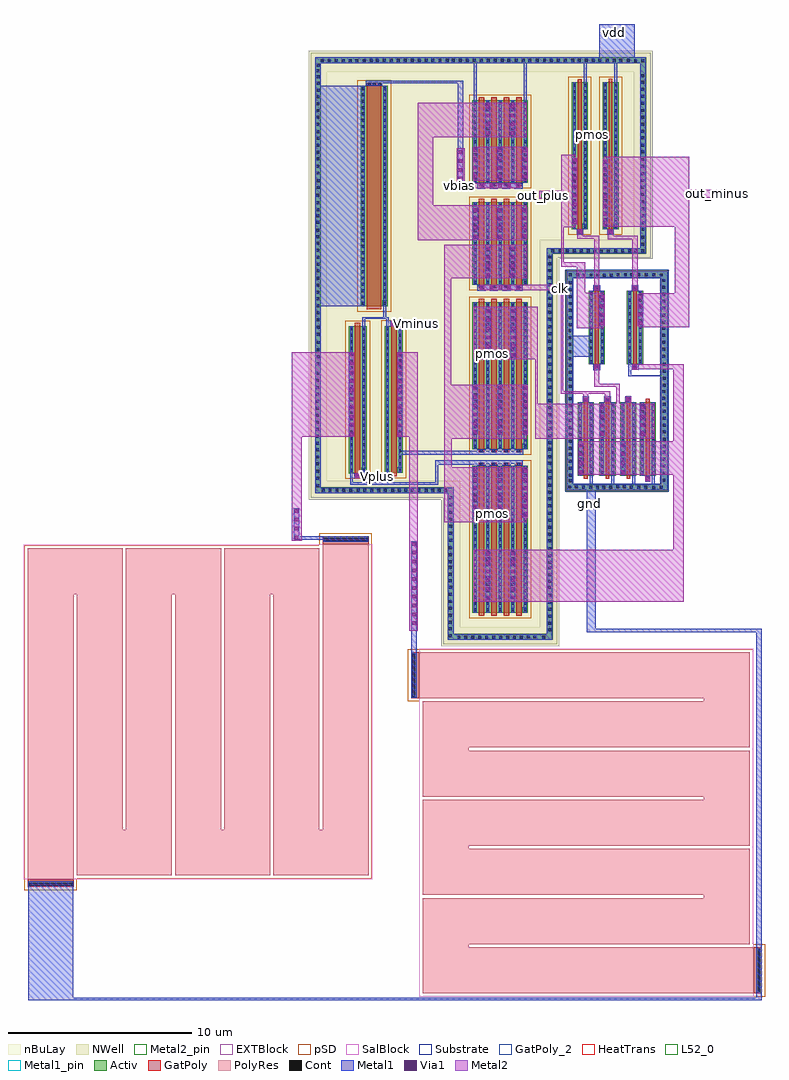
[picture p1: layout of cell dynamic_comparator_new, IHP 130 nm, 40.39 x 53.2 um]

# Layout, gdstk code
from math import pi, radians
import gdstk
lib = gdstk.Library(unit=1e-6, precision=1e-09)
def R(c, l, rs):  # rectangles x0, y0, x1, y1
    for r in rs: c.add(gdstk.rectangle(r[:2], r[2:], *l))
def A(c, l, x, y, w, h, nx, ny, dx, dy):  # array of equal rectangles
    R(c, l, [(x+i*dx, y+j*dy, x+i*dx+w, y+j*dy+h) for i in range(nx) for j in range(ny)])
def P(c, l, *ps):  # polygons
    for p in ps: c.add(gdstk.Polygon(p, *l))
Activ = (1, 0)
GatPoly = (5, 0)
GatPoly_2 = (5, 2)
Cont = (6, 0)
Metal1 = (8, 0)
Metal1_pin = (8, 2)
Metal2 = (10, 0)
Metal2_pin = (10, 2)
pSD = (14, 0)
Via1 = (19, 0)
SalBlock = (28, 0)
NWell = (31, 0)
nBuLay = (32, 0)
Substrate = (40, 0)
HeatTrans = (51, 0)
L52_0 = (52, 0)
EXTBlock = (111, 0)
PolyRes = (128, 0)

pmos_5_5 = lib.new_cell('pmos$5$5')

via_stack_1_14 = lib.new_cell('via_stack$1$14')

via_stack_62 = lib.new_cell('via_stack$62')

nmos_1_4 = lib.new_cell('nmos$1$4')

via_stack_3_10 = lib.new_cell('via_stack$3$10')

nmos_2_8 = lib.new_cell('nmos$2$8')

via_stack_1_1_8 = lib.new_cell('via_stack$1$1$8')

via_stack_2_2 = lib.new_cell('via_stack$2$2')

pmos_6_4 = lib.new_cell('pmos$6$4')

via_stack_3_1_8 = lib.new_cell('via_stack$3$1$8')

via_stack_4_8 = lib.new_cell('via_stack$4$8')

pmos_16 = lib.new_cell('pmos$16')
A(pmos_16, Activ, 0, 0, 0.3, 0.3, 5, 1, 0.68, 0)
R(pmos_16, Activ, [(0,0,3.02,4.5)])
A(pmos_16, GatPoly, 0.34, -0.18, 0.3, 4.86, 4, 1, 0.68, 0)
R(pmos_16, GatPoly, [(0.34,-0.18,0.64,4.68)])
A(pmos_16, Cont, 0.07, 0.07, 0.16, 0.16, 5, 13, 0.68, 0.35)
A(pmos_16, Metal1, 0.75, 0, 0.16, 4.5, 4, 1, 0.68, 0)
R(pmos_16, Metal1, [(0.07,0,0.23,4.5), (0.07,0,0.23,4.5), (0.75,0,0.91,4.5)])
R(pmos_16, pSD, [(-0.18,-0.3,3.2,4.8)])
R(pmos_16, NWell, [(-0.31,-0.31,3.33,4.81)])
R(pmos_16, Substrate, [(2.72,0,3.02,0.3)])
A(pmos_16, HeatTrans, 0.34, -0.18, 0.3, 4.86, 4, 1, 0.68, 0)
pmos_16.add(gdstk.Label('pmos', (0.49,2.25), layer=63, texttype=0))
pmos_16.add(gdstk.Label('pmos', (0.49,2.25), layer=51, texttype=0))
pmos_16.add(gdstk.Label('pmos', (1.17,2.25), layer=51, texttype=0))
pmos_16.add(gdstk.Label('pmos', (1.85,2.25), layer=51, texttype=0))
pmos_16.add(gdstk.Label('pmos', (2.53,2.25), layer=51, texttype=0))

pmos_7_5 = lib.new_cell('pmos$7$5')
A(pmos_7_5, Activ, 0, 0, 0.3, 0.3, 5, 1, 0.68, 0)
R(pmos_7_5, Activ, [(0,0,3.02,4.5)])
A(pmos_7_5, GatPoly, 0.34, -0.18, 0.3, 4.86, 4, 1, 0.68, 0)
R(pmos_7_5, GatPoly, [(0.34,-0.18,0.64,4.68)])
A(pmos_7_5, Cont, 0.07, 0.07, 0.16, 0.16, 5, 13, 0.68, 0.35)
A(pmos_7_5, Metal1, 0.75, 0, 0.16, 4.5, 4, 1, 0.68, 0)
R(pmos_7_5, Metal1, [(0.07,0,0.23,4.5), (0.07,0,0.23,4.5), (0.75,0,0.91,4.5)])
R(pmos_7_5, pSD, [(-0.18,-0.3,3.2,4.8)])
R(pmos_7_5, NWell, [(-0.31,-0.31,3.33,4.81)])
R(pmos_7_5, Substrate, [(2.72,0,3.02,0.3)])
A(pmos_7_5, HeatTrans, 0.34, -0.18, 0.3, 4.86, 4, 1, 0.68, 0)
pmos_7_5.add(gdstk.Label('pmos', (0.49,2.25), layer=63, texttype=0))
pmos_7_5.add(gdstk.Label('pmos', (0.49,2.25), layer=51, texttype=0))
pmos_7_5.add(gdstk.Label('pmos', (1.17,2.25), layer=51, texttype=0))
pmos_7_5.add(gdstk.Label('pmos', (1.85,2.25), layer=51, texttype=0))
pmos_7_5.add(gdstk.Label('pmos', (2.53,2.25), layer=51, texttype=0))

via_stack_6_8 = lib.new_cell('via_stack$6$8')
R(via_stack_6_8, Metal1, [(-0.145,-0.865,0.145,0.865)])
R(via_stack_6_8, Metal2, [(-0.145,-0.865,0.145,0.865)])
A(via_stack_6_8, Via1, -0.095, -0.815, 0.19, 0.19, 1, 4, 0, 0.48)

via_stack_5_2 = lib.new_cell('via_stack$5$2')
R(via_stack_5_2, Metal1, [(-1.105,-0.145,1.105,0.145)])
R(via_stack_5_2, Metal2, [(-1.105,-0.145,1.105,0.145)])
A(via_stack_5_2, Via1, -1.055, -0.095, 0.19, 0.19, 5, 1, 0.48, 0)

nmos_12 = lib.new_cell('nmos$12')
R(nmos_12, Activ, [(0,0,0.3,0.3), (0,0,0.88,4), (0.58,0,0.88,0.3)])
R(nmos_12, GatPoly, [(0.34,-0.18,0.54,4.18)])
R(nmos_12, GatPoly_2, [(0.34,-0.18,0.54,4.18)])
A(nmos_12, Cont, 0.07, 0.07, 0.16, 0.16, 1, 11, 0, 0.37)
A(nmos_12, Cont, 0.65, 0.07, 0.16, 0.16, 1, 11, 0, 0.37)
R(nmos_12, Metal1, [(0.07,0,0.23,4), (0.65,0,0.81,4)])
R(nmos_12, Metal1_pin, [(0.07,0,0.23,4), (0.65,0,0.81,4)])
R(nmos_12, HeatTrans, [(0.34,-0.18,0.54,4.18)])
nmos_12.add(gdstk.Label('nmos', (0.44,2), layer=63, texttype=0))
nmos_12.add(gdstk.Label('nmos', (0.44,2), layer=51, texttype=0))

via_stack_10_8 = lib.new_cell('via_stack$10$8')
R(via_stack_10_8, Metal1, [(-0.145,-0.145,0.145,0.145)])
R(via_stack_10_8, Metal2, [(-0.145,-0.145,0.145,0.145)])
R(via_stack_10_8, Via1, [(-0.095,-0.095,0.095,0.095)])

pmos_1_8 = lib.new_cell('pmos$1$8')
R(pmos_1_8, Activ, [(0,0,0.3,0.3), (0,0,0.88,8), (0.58,0,0.88,0.3)])
R(pmos_1_8, GatPoly, [(0.34,-0.18,0.54,8.18), (0.34,-0.18,0.54,8.18)])
A(pmos_1_8, Cont, 0.07, 0.07, 0.16, 0.16, 1, 23, 0, 0.35)
A(pmos_1_8, Cont, 0.65, 0.07, 0.16, 0.16, 1, 23, 0, 0.35)
R(pmos_1_8, Metal1, [(0.07,0,0.23,8), (0.07,0,0.23,8), (0.65,0,0.81,8), (0.65,0,0.81,8)])
R(pmos_1_8, pSD, [(-0.18,-0.3,1.06,8.3)])
R(pmos_1_8, NWell, [(-0.31,-0.31,1.19,8.31)])
R(pmos_1_8, Substrate, [(0.58,0,0.88,0.3)])
R(pmos_1_8, HeatTrans, [(0.34,-0.18,0.54,8.18)])
pmos_1_8.add(gdstk.Label('pmos', (0.44,4), layer=63, texttype=0))
pmos_1_8.add(gdstk.Label('pmos', (0.44,4), layer=51, texttype=0))

via_stack_11_8 = lib.new_cell('via_stack$11$8')
R(via_stack_11_8, Metal1, [(-0.145,-1.825,0.145,1.825)])
R(via_stack_11_8, Metal2, [(-0.145,-1.825,0.145,1.825)])
A(via_stack_11_8, Via1, -0.095, -1.775, 0.19, 0.19, 1, 8, 0, 0.48)

via_stack_7_8 = lib.new_cell('via_stack$7$8')
R(via_stack_7_8, Metal1, [(-0.145,-1.345,0.145,1.345)])
R(via_stack_7_8, Metal2, [(-0.145,-1.345,0.145,1.345)])
A(via_stack_7_8, Via1, -0.095, -1.295, 0.19, 0.19, 1, 6, 0, 0.48)

pmos_4_8 = lib.new_cell('pmos$4$8')
A(pmos_4_8, Activ, 0, 0, 0.3, 0.3, 5, 1, 0.68, 0)
R(pmos_4_8, Activ, [(0,0,3.02,8)])
A(pmos_4_8, GatPoly, 0.34, -0.18, 0.3, 8.36, 4, 1, 0.68, 0)
R(pmos_4_8, GatPoly, [(0.34,-0.18,0.64,8.18)])
A(pmos_4_8, Cont, 0.07, 0.07, 0.16, 0.16, 5, 23, 0.68, 0.35)
A(pmos_4_8, Metal1, 0.75, 0, 0.16, 8, 4, 1, 0.68, 0)
R(pmos_4_8, Metal1, [(0.07,0,0.23,8), (0.07,0,0.23,8), (0.75,0,0.91,8)])
R(pmos_4_8, pSD, [(-0.18,-0.3,3.2,8.3)])
R(pmos_4_8, NWell, [(-0.31,-0.31,3.33,8.31)])
R(pmos_4_8, Substrate, [(2.72,0,3.02,0.3)])
A(pmos_4_8, HeatTrans, 0.34, -0.18, 0.3, 8.36, 4, 1, 0.68, 0)
pmos_4_8.add(gdstk.Label('pmos', (0.49,4), layer=63, texttype=0))
pmos_4_8.add(gdstk.Label('pmos', (0.49,4), layer=51, texttype=0))
pmos_4_8.add(gdstk.Label('pmos', (1.17,4), layer=51, texttype=0))
pmos_4_8.add(gdstk.Label('pmos', (1.85,4), layer=51, texttype=0))
pmos_4_8.add(gdstk.Label('pmos', (2.53,4), layer=51, texttype=0))

pmos_9_2 = lib.new_cell('pmos$9$2')
R(pmos_9_2, Activ, [(0,0,0.3,0.3), (0,0,1.48,12), (1.18,0,1.48,0.3)])
R(pmos_9_2, GatPoly, [(0.34,-0.18,1.14,12.18), (0.34,-0.18,1.14,12.18)])
A(pmos_9_2, Cont, 0.07, 0.41, 0.16, 0.16, 1, 5, 0, 0.345)
A(pmos_9_2, Cont, 1.25, 0.41, 0.16, 0.16, 1, 5, 0, 0.345)
A(pmos_9_2, Cont, 0.07, 2.13, 0.16, 0.16, 1, 6, 0, 0.345)
A(pmos_9_2, Cont, 1.25, 2.13, 0.16, 0.16, 1, 6, 0, 0.345)
A(pmos_9_2, Cont, 0.07, 4.195, 0.16, 0.16, 1, 6, 0, 0.345)
A(pmos_9_2, Cont, 1.25, 4.195, 0.16, 0.16, 1, 6, 0, 0.345)
A(pmos_9_2, Cont, 0.07, 6.26, 0.16, 0.16, 1, 5, 0, 0.345)
A(pmos_9_2, Cont, 1.25, 6.26, 0.16, 0.16, 1, 5, 0, 0.345)
A(pmos_9_2, Cont, 0.07, 7.98, 0.16, 0.16, 1, 6, 0, 0.345)
A(pmos_9_2, Cont, 1.25, 7.98, 0.16, 0.16, 1, 6, 0, 0.345)
A(pmos_9_2, Cont, 0.07, 10.045, 0.16, 0.16, 1, 6, 0, 0.345)
A(pmos_9_2, Cont, 1.25, 10.045, 0.16, 0.16, 1, 6, 0, 0.345)
R(pmos_9_2, Cont, [(0.07,0.07,0.23,0.23), (1.25,0.07,1.41,0.23)])
R(pmos_9_2, Metal1, [(0.07,0,0.23,12), (0.07,0,0.23,12), (1.25,0,1.41,12), (1.25,0,1.41,12)])
R(pmos_9_2, pSD, [(-0.18,-0.3,1.66,12.3)])
R(pmos_9_2, NWell, [(-0.31,-0.31,1.79,12.31)])
R(pmos_9_2, Substrate, [(1.18,0,1.48,0.3)])
R(pmos_9_2, HeatTrans, [(0.34,-0.18,1.14,12.18)])
pmos_9_2.add(gdstk.Label('pmos', (0.74,6), layer=63, texttype=0))
pmos_9_2.add(gdstk.Label('pmos', (0.74,6), layer=51, texttype=0))

pmos_11_2 = lib.new_cell('pmos$11$2')
R(pmos_11_2, Activ, [(0,0,0.3,0.3), (0,0,0.98,8), (0.68,0,0.98,0.3)])
R(pmos_11_2, GatPoly, [(0.34,-0.18,0.64,8.18), (0.34,-0.18,0.64,8.18)])
A(pmos_11_2, Cont, 0.07, 0.07, 0.16, 0.16, 1, 23, 0, 0.35)
A(pmos_11_2, Cont, 0.75, 0.07, 0.16, 0.16, 1, 23, 0, 0.35)
R(pmos_11_2, Metal1, [(0.07,0,0.23,8), (0.07,0,0.23,8), (0.75,0,0.91,8), (0.75,0,0.91,8)])
R(pmos_11_2, pSD, [(-0.18,-0.3,1.16,8.3)])
R(pmos_11_2, NWell, [(-0.31,-0.31,1.29,8.31)])
R(pmos_11_2, Substrate, [(0.68,0,0.98,0.3)])
R(pmos_11_2, HeatTrans, [(0.34,-0.18,0.64,8.18)])
pmos_11_2.add(gdstk.Label('pmos', (0.49,4), layer=63, texttype=0))
pmos_11_2.add(gdstk.Label('pmos', (0.49,4), layer=51, texttype=0))

via_stack_8_8 = lib.new_cell('via_stack$8$8')
R(via_stack_8_8, Metal1, [(-0.145,-2.305,0.145,2.305)])
R(via_stack_8_8, Metal2, [(-0.145,-2.305,0.145,2.305)])
A(via_stack_8_8, Via1, -0.095, -2.255, 0.19, 0.19, 1, 10, 0, 0.48)

rppd_2 = lib.new_cell('rppd$2')
R(rppd_2, GatPoly, [(0,-0.43,2.5,-0.2), (0,-0.2,2.5,0), (16.08,18.245,18.58,18.445), (16.08,18.445,18.58,18.675)])
R(rppd_2, Cont, [(0.07,-0.36,2.43,-0.2), (16.15,18.445,18.51,18.605)])
R(rppd_2, Metal1, [(0.02,-0.43,2.48,-0.13), (16.1,18.375,18.56,18.675)])
R(rppd_2, Metal1_pin, [(0.02,-0.43,2.48,-0.13), (16.1,18.375,18.56,18.675)])
R(rppd_2, pSD, [(-0.18,-0.61,2.68,0.02), (-0.18,0.02,18.76,18.2), (15.9,18.2,18.76,18.245), (15.9,18.245,18.76,18.855)])
R(rppd_2, SalBlock, [(-0.2,0,18.78,18.22), (15.88,18.22,18.78,18.245)])
A(rppd_2, L52_0, 2.68, 0.2, 5.18, 2.5, 3, 1, 5.36, 0)
A(rppd_2, L52_0, 2.68, 2.7, 2.5, 12.82, 5, 1, 2.68, 0)
A(rppd_2, L52_0, 0, 15.52, 5.18, 2.5, 3, 1, 5.36, 0)
R(rppd_2, L52_0, [(0,0,2.5,15.52), (16.08,2.7,18.58,18.245)])
R(rppd_2, EXTBlock, [(-0.18,-0.61,2.68,0), (-0.2,0,18.78,18.22), (15.88,18.22,18.78,18.245), (15.9,18.245,18.76,18.855)])
A(rppd_2, PolyRes, 2.68, 0.2, 5.18, 2.5, 3, 1, 5.36, 0)
A(rppd_2, PolyRes, 2.68, 2.7, 2.5, 12.82, 5, 1, 2.68, 0)
A(rppd_2, PolyRes, 0, 15.52, 5.18, 2.5, 3, 1, 5.36, 0)
R(rppd_2, PolyRes, [(0,0,2.5,15.52), (16.08,2.7,18.58,18.245)])
rppd_2.add(gdstk.Label('rppd r=11700.001', (1.25,6.41), layer=63, texttype=0))
rppd_2.add(gdstk.Label('rppd', (1.25,7.76), layer=52, texttype=0))
rppd_2.add(gdstk.Label('rppd', (2.59,16.77), layer=52, texttype=0))
rppd_2.add(gdstk.Label('rppd', (3.93,9.11), layer=52, texttype=0))
rppd_2.add(gdstk.Label('rppd', (5.27,1.45), layer=52, texttype=0))
rppd_2.add(gdstk.Label('rppd', (6.61,9.11), layer=52, texttype=0))
rppd_2.add(gdstk.Label('rppd', (7.95,16.77), layer=52, texttype=0))
rppd_2.add(gdstk.Label('rppd', (9.29,9.11), layer=52, texttype=0))
rppd_2.add(gdstk.Label('rppd', (10.63,1.45), layer=52, texttype=0))
rppd_2.add(gdstk.Label('rppd', (11.97,9.11), layer=52, texttype=0))
rppd_2.add(gdstk.Label('rppd', (13.31,16.77), layer=52, texttype=0))
rppd_2.add(gdstk.Label('rppd', (14.65,9.11), layer=52, texttype=0))
rppd_2.add(gdstk.Label('rppd', (15.99,1.45), layer=52, texttype=0))
rppd_2.add(gdstk.Label('rppd', (17.33,10.472), layer=52, texttype=0))

dynamic_comparator_new = lib.new_cell('dynamic_comparator_new')
P(dynamic_comparator_new, Activ, [(29.29,15.765),(29.29,23.755),(22.05,23.755),(22.05,47.175),(22.37,47.175),(22.37,24.065),(29.61,24.065),(29.61,16.085),(34.665,16.085),(34.665,37.105),(39.765,37.105),(39.765,47.175),(22.05,47.175),(22.05,47.51),(40.1,47.51),(40.1,36.815),(35,36.815),(35,15.765)],
  [(35.78,23.91),(35.78,35.495),(36.105,35.495),(36.105,24.225),(40.9,24.225),(40.9,35.495),(35.78,35.495),(35.78,35.855),(41.265,35.855),(41.265,23.91)])
A(dynamic_comparator_new, Cont, 30.565, 15.83, 0.16, 0.16, 3, 1, 0.375, 0)
A(dynamic_comparator_new, Cont, 34.765, 22.995, 0.16, 0.16, 1, 4, 0, 0.37)
A(dynamic_comparator_new, Cont, 26.91, 23.83, 0.16, 0.16, 3, 1, 0.36, 0)
A(dynamic_comparator_new, Cont, 23.165, 23.835, 0.16, 0.16, 3, 1, 0.375, 0)
A(dynamic_comparator_new, Cont, 40.99, 25.155, 0.16, 0.16, 1, 3, 0, 0.375)
A(dynamic_comparator_new, Cont, 40.995, 27.01, 0.16, 0.16, 1, 3, 0, 0.375)
A(dynamic_comparator_new, Cont, 22.105, 27.93, 0.16, 0.16, 1, 3, 0, 0.375)
A(dynamic_comparator_new, Cont, 34.76, 27.95, 0.16, 0.16, 1, 3, 0, 0.375)
A(dynamic_comparator_new, Cont, 35.865, 31.78, 0.16, 0.16, 1, 3, 0, 0.375)
A(dynamic_comparator_new, Cont, 40.98, 31.91, 0.16, 0.16, 1, 3, 0, 0.375)
A(dynamic_comparator_new, Cont, 35.87, 33.635, 0.16, 0.16, 1, 3, 0, 0.375)
A(dynamic_comparator_new, Cont, 40.985, 33.765, 0.16, 0.16, 1, 3, 0, 0.375)
A(dynamic_comparator_new, Cont, 22.13, 35.785, 0.16, 0.16, 1, 3, 0, 0.375)
A(dynamic_comparator_new, Cont, 35.72, 36.885, 0.16, 0.16, 3, 1, 0.375, 0)
A(dynamic_comparator_new, Cont, 39.84, 39.975, 0.16, 0.16, 1, 4, 0, 0.37)
A(dynamic_comparator_new, Cont, 22.13, 43.78, 0.16, 0.16, 1, 3, 0, 0.375)
A(dynamic_comparator_new, Cont, 39.835, 44.93, 0.16, 0.16, 1, 3, 0, 0.375)
A(dynamic_comparator_new, Cont, 22.14, 45.63, 0.16, 0.16, 1, 3, 0, 0.375)
A(dynamic_comparator_new, Cont, 25.745, 47.26, 0.16, 0.16, 3, 1, 0.375, 0)
A(dynamic_comparator_new, Cont, 34.855, 47.26, 0.16, 0.16, 3, 1, 0.375, 0)
A(dynamic_comparator_new, Cont, 29.89, 47.27, 0.16, 0.16, 3, 1, 0.375, 0)
R(dynamic_comparator_new, Cont, [(29.815,15.83,29.975,15.99), (30.185,15.83,30.345,15.99), (31.715,15.83,31.875,15.99), (32.085,15.83,32.245,15.99), (32.465,15.83,32.625,15.99), (32.84,15.83,33,15.99), (33.2,15.83,33.36,15.99), (34.435,15.83,34.595,15.99), (33.595,15.835,33.755,15.995), (33.955,15.835,34.115,15.995), (29.345,15.91,29.505,16.07), (34.755,16.24,34.915,16.4), (29.35,16.29,29.51,16.45), (34.75,16.595,34.91,16.755), (29.345,16.645,29.505,16.805), (34.75,16.97,34.91,17.13), (29.345,17.02,29.505,17.18), (34.75,17.35,34.91,17.51), (29.345,17.4,29.505,17.56), (34.75,17.72,34.91,17.88), (29.345,17.77,29.505,17.93), (34.75,18.12,34.91,18.28), (29.345,18.17,29.505,18.33), (29.355,18.535,29.515,18.695), (34.73,18.54,34.89,18.7), (34.755,18.865,34.915,19.025), (29.335,18.905,29.495,19.065), (34.765,19.225,34.925,19.385), (29.345,19.265,29.505,19.425), (34.765,19.6,34.925,19.76), (29.345,19.64,29.505,19.8), (34.755,19.905,34.915,20.065), (29.345,19.935,29.505,20.095), (34.765,20.265,34.925,20.425), (29.35,20.315,29.51,20.475), (34.765,20.64,34.925,20.8), (29.35,20.69,29.51,20.85), (34.77,21.075,34.93,21.235), (29.355,21.115,29.515,21.275), (34.77,21.435,34.93,21.595), (29.36,21.49,29.52,21.65), (34.77,21.805,34.93,21.965), (29.36,21.86,29.52,22.02), (34.77,22.205,34.93,22.365), (29.36,22.26,29.52,22.42), (34.77,22.58,34.93,22.74), (29.36,22.635,29.52,22.795), (29.355,23.05,29.515,23.21), (29.355,23.42,29.515,23.58), (28.74,23.825,28.9,23.985), (29.105,23.825,29.265,23.985), (22.415,23.835,22.575,23.995), (22.785,23.835,22.945,23.995), (24.315,23.835,24.475,23.995), (24.685,23.835,24.845,23.995), (25.065,23.835,25.225,23.995), (25.44,23.835,25.6,23.995), (25.8,23.835,25.96,23.995), (28.025,23.835,28.185,23.995), (28.385,23.835,28.545,23.995), (26.195,23.84,26.355,24), (26.555,23.84,26.715,24), (40.43,23.98,40.59,24.14), (36.6,23.985,36.76,24.145), (37,23.985,37.16,24.145), (40.84,23.985,41,24.145), (37.715,23.99,37.875,24.15), (38.095,23.99,38.255,24.15), (39.21,23.99,39.37,24.15), (39.61,23.99,39.77,24.15), (40.005,23.99,40.165,24.15), (37.365,23.995,37.525,24.155), (35.86,24.01,36.02,24.17), (36.215,24.01,36.375,24.17), (38.47,24.015,38.63,24.175), (38.825,24.015,38.985,24.175), (22.11,24.085,22.27,24.245), (35.875,24.35,36.035,24.51), (40.99,24.385,41.15,24.545), (22.11,24.485,22.27,24.645), (34.765,24.505,34.925,24.665), (40.1,24.535,40.26,24.695), (35.875,24.655,36.035,24.815), (24.305,24.685,24.465,24.845), (40.99,24.755,41.15,24.915), (22.11,24.86,22.27,25.02), (34.765,24.88,34.925,25.04), (35.875,25.035,36.035,25.195), (31.035,25.245,31.195,25.405), (31.715,25.245,31.875,25.405), (32.4,25.245,32.56,25.405), (33.08,25.245,33.24,25.405), (22.105,25.275,22.265,25.435), (34.76,25.295,34.92,25.455), (35.875,25.405,36.035,25.565), (22.105,25.645,22.265,25.805), (34.76,25.665,34.92,25.825), (35.875,25.805,36.035,25.965), (31.035,25.995,31.195,26.155), (31.715,25.995,31.875,26.155), (32.4,25.995,32.56,26.155), (33.08,25.995,33.24,26.155), (22.105,26.045,22.265,26.205), (34.76,26.065,34.92,26.225), (35.875,26.125,36.035,26.285), (40.995,26.24,41.155,26.4), (22.105,26.405,22.265,26.565), (34.76,26.425,34.92,26.585), (35.875,26.5,36.035,26.66), (40.995,26.61,41.155,26.77), (22.105,26.78,22.265,26.94), (34.76,26.8,34.92,26.96), (35.875,26.88,36.035,27.04), (22.105,27.16,22.265,27.32), (34.76,27.18,34.92,27.34), (35.875,27.25,36.035,27.41), (22.105,27.53,22.265,27.69), (34.76,27.55,34.92,27.71), (35.875,27.65,36.035,27.81), (35.875,28.025,36.035,28.185), (40.995,28.14,41.155,28.3), (35.87,28.44,36.03,28.6), (40.995,28.51,41.155,28.67), (36.725,28.715,36.885,28.875), (37.91,28.715,38.07,28.875), (39.04,28.715,39.2,28.875), (35.87,28.81,36.03,28.97), (40.985,28.845,41.145,29.005), (22.105,29.06,22.265,29.22), (34.76,29.08,34.92,29.24), (35.87,29.16,36.03,29.32), (40.985,29.215,41.145,29.375), (22.105,29.43,22.265,29.59), (34.76,29.45,34.92,29.61), (35.87,29.505,36.03,29.665), (40.995,29.56,41.155,29.72), (40.995,29.56,41.155,29.72), (22.105,29.83,22.265,29.99), (34.76,29.85,34.92,30.01), (35.87,29.875,36.03,30.035), (40.995,29.93,41.155,30.09), (40.995,29.93,41.155,30.09), (22.13,30.21,22.29,30.37), (35.87,30.275,36.03,30.435), (34.755,30.28,34.915,30.44), (40.995,30.33,41.155,30.49), (37.325,30.61,37.485,30.77), (39.415,30.62,39.575,30.78), (35.87,30.65,36.03,30.81), (34.75,30.69,34.91,30.85), (40.995,30.705,41.155,30.865), (22.13,30.72,22.29,30.88), (35.865,31.01,36.025,31.17), (22.135,31.105,22.295,31.265), (34.76,31.11,34.92,31.27), (40.98,31.14,41.14,31.3), (35.865,31.38,36.025,31.54), (22.13,31.5,22.29,31.66), (40.98,31.51,41.14,31.67), (34.75,31.545,34.91,31.705), (22.135,31.885,22.295,32.045), (34.76,31.965,34.92,32.125), (22.135,32.34,22.295,32.5), (34.76,32.365,34.92,32.525), (22.135,32.715,22.295,32.875), (34.76,32.74,34.92,32.9), (35.87,32.865,36.03,33.025), (26.26,32.87,26.42,33.03), (40.985,32.995,41.145,33.155), (22.13,33.13,22.29,33.29), (34.755,33.155,34.915,33.315), (35.87,33.235,36.03,33.395), (40.985,33.365,41.145,33.525), (22.13,33.5,22.29,33.66), (34.755,33.525,34.915,33.685), (22.13,33.9,22.29,34.06), (34.755,33.925,34.915,34.085), (22.13,34.26,22.29,34.42), (34.755,34.285,34.915,34.445), (22.13,34.635,22.29,34.795), (34.755,34.66,34.915,34.82), (35.87,34.765,36.03,34.925), (37.325,34.785,37.485,34.945), (39.41,34.795,39.57,34.955), (40.985,34.895,41.145,35.055), (31.035,34.945,31.195,35.105), (31.715,34.945,31.875,35.105), (32.4,34.945,32.56,35.105), (33.08,34.945,33.24,35.105), (22.13,35.015,22.29,35.175), (34.755,35.04,34.915,35.2), (35.87,35.135,36.03,35.295), (40.985,35.265,41.145,35.425), (22.13,35.385,22.29,35.545), (34.755,35.41,34.915,35.57), (37.725,35.56,37.885,35.72), (38.105,35.56,38.265,35.72), (36.63,35.565,36.79,35.725), (37.01,35.565,37.17,35.725), (37.375,35.565,37.535,35.725), (40.845,35.565,41.005,35.725), (35.87,35.57,36.03,35.73), (36.28,35.57,36.44,35.73), (39.24,35.57,39.4,35.73), (39.62,35.57,39.78,35.73), (40.01,35.57,40.17,35.73), (38.48,35.575,38.64,35.735), (38.89,35.575,39.05,35.735), (40.42,35.575,40.58,35.735), (34.755,35.81,34.915,35.97), (34.755,36.185,34.915,36.345), (34.765,36.545,34.925,36.705), (37.205,36.87,37.365,37.03), (37.57,36.87,37.73,37.03), (37.96,36.87,38.12,37.03), (38.36,36.875,38.52,37.035), (38.725,36.875,38.885,37.035), (39.115,36.875,39.275,37.035), (34.935,36.885,35.095,37.045), (35.34,36.885,35.5,37.045), (36.87,36.885,37.03,37.045), (39.44,36.885,39.6,37.045), (39.83,36.885,39.99,37.045), (22.13,36.915,22.29,37.075), (39.84,37.245,40,37.405), (22.13,37.285,22.29,37.445), (39.84,37.62,40,37.78), (22.115,37.64,22.275,37.8), (36.4,37.98,36.56,38.14), (38.075,37.985,38.235,38.145), (22.115,38.015,22.275,38.175), (39.845,38.055,40.005,38.215), (39.845,38.415,40.005,38.575), (22.11,38.43,22.27,38.59), (39.845,38.785,40.005,38.945), (22.11,38.8,22.27,38.96), (22.13,39.13,22.29,39.29), (39.845,39.185,40.005,39.345), (22.13,39.505,22.29,39.665), (39.845,39.56,40.005,39.72), (22.125,39.92,22.285,40.08), (22.135,40.335,22.295,40.495), (31.03,40.495,31.19,40.655), (31.71,40.495,31.87,40.655), (32.395,40.495,32.555,40.655), (33.075,40.495,33.235,40.655), (22.135,40.71,22.295,40.87), (22.13,41.125,22.29,41.285), (39.84,41.485,40,41.645), (22.13,41.495,22.29,41.655), (39.84,41.86,40,42.02), (22.13,41.895,22.29,42.055), (22.13,42.255,22.29,42.415), (39.835,42.275,39.995,42.435), (22.13,42.63,22.29,42.79), (39.835,42.645,39.995,42.805), (22.13,43.01,22.29,43.17), (39.835,43.045,39.995,43.205), (22.13,43.38,22.29,43.54), (39.835,43.405,39.995,43.565), (39.835,43.78,39.995,43.94), (39.835,44.16,39.995,44.32), (39.835,44.53,39.995,44.69), (22.13,44.91,22.29,45.07), (22.13,45.28,22.29,45.44), (24.935,45.965,25.095,46.125), (25.2,45.965,25.36,46.125), (25.485,45.965,25.645,46.125), (39.835,46.06,39.995,46.22), (39.835,46.43,39.995,46.59), (22.13,46.7,22.29,46.86), (22.14,46.99,22.3,47.15), (39.435,47.245,39.595,47.405), (39.825,47.245,39.985,47.405), (22.355,47.255,22.515,47.415), (22.755,47.255,22.915,47.415), (23.125,47.255,23.285,47.415), (23.505,47.255,23.665,47.415), (23.505,47.255,23.665,47.415), (23.88,47.255,24.04,47.415), (23.88,47.255,24.04,47.415), (24.24,47.255,24.4,47.415), (24.24,47.255,24.4,47.415), (24.64,47.255,24.8,47.415), (25.025,47.26,25.185,47.42), (25.365,47.26,25.525,47.42), (26.895,47.26,27.055,47.42), (27.265,47.26,27.425,47.42), (27.645,47.26,27.805,47.42), (28.02,47.26,28.18,47.42), (28.38,47.26,28.54,47.42), (28.78,47.26,28.94,47.42), (34.475,47.26,34.635,47.42), (36.005,47.26,36.165,47.42), (36.375,47.26,36.535,47.42), (36.755,47.26,36.915,47.42), (37.13,47.26,37.29,47.42), (37.49,47.26,37.65,47.42), (37.89,47.26,38.05,47.42), (29.165,47.265,29.325,47.425), (38.275,47.265,38.435,47.425), (38.635,47.265,38.795,47.425), (39.035,47.265,39.195,47.425), (29.51,47.27,29.67,47.43), (31.04,47.27,31.2,47.43), (31.41,47.27,31.57,47.43), (31.79,47.27,31.95,47.43), (32.165,47.27,32.325,47.43), (32.525,47.27,32.685,47.43), (32.925,47.27,33.085,47.43), (33.31,47.275,33.47,47.435), (33.67,47.275,33.83,47.435), (34.07,47.275,34.23,47.435)])
R(dynamic_comparator_new, Metal1, [(46.095,-3.75,46.395,-3.48), (27.29,15.06,27.58,16.525), (21.19,21.205,22.485,21.395), (37.015,24.23,37.175,24.71), (38.2,24.23,38.36,24.71), (39.335,24.23,39.495,24.71), (40.395,24.23,40.555,24.71), (40.055,24.375,40.315,24.71), (24.17,24.555,24.58,24.85), (30.885,25.24,31.34,25.56), (31.565,25.24,32.02,25.56), (32.25,25.24,32.705,25.56), (32.925,25.24,33.38,25.56), (31.34,25.34,31.565,25.56), (32.02,25.34,32.25,25.56), (32.705,25.355,32.925,25.56), (26.6,25.84,30.885,26.075), (30.885,25.84,31.34,26.16), (30.885,25.84,31.34,26.16), (31.34,25.84,31.565,26.065), (31.565,25.84,32.02,26.16), (32.02,25.84,32.25,26.06), (32.25,25.84,32.705,26.16), (32.705,25.84,32.93,26.06), (32.93,25.84,33.385,26.16), (36.63,28.71,36.97,29.045), (37.82,28.71,38.16,29.045), (38.95,28.71,39.29,29.045), (37.225,30.46,37.59,30.775), (39.315,30.47,39.68,30.785), (36.105,31.18,37.035,32.335), (26.125,32.865,26.555,33.16), (22.36,33.955,24.6,45.95), (37.225,34.775,37.59,35.085), (39.31,34.785,39.675,35.09), (30.885,34.79,31.34,35.11), (31.565,34.79,32.02,35.11), (32.25,34.79,32.705,35.11), (32.925,34.79,33.38,35.11), (36.3,37.83,36.665,38.145), (37.975,37.835,38.34,38.15), (30.88,40.34,31.335,40.66), (31.56,40.34,32.015,40.66), (32.245,40.34,32.7,40.66), (32.92,40.34,33.375,40.66), (30.695,45.16,30.855,47.195), (33.415,45.16,33.575,47.195), (24.82,45.955,25.72,46.235), (37.54,47.505,39.48,49.325)])
P(dynamic_comparator_new, Metal1, [(29.295,15.77),(29.295,23.76),(22.055,23.76),(22.055,47.195),(38.53,47.195),(38.53,46.15),(38.37,46.15),(38.37,47.195),(36.85,47.195),(36.85,46.145),(36.69,46.145),(36.69,47.195),(22.36,47.195),(22.36,24.06),(29.6,24.06),(29.6,16.075),(34.68,16.075),(34.68,37.1),(39.78,37.1),(39.78,47.195),(22.055,47.195),(22.055,47.505),(40.085,47.505),(40.085,36.82),(34.985,36.82),(34.985,15.77)],
  [(46.095,-1.02),(46.095,16.165),(36.845,16.165),(36.845,23.905),(37.345,23.905),(37.345,16.37),(46.395,16.37),(46.395,-1.02)],
  [(39.12,30.12),(39.12,30.785),(39.28,30.785),(39.28,30.18),(40.89,30.18),(40.89,30.12)],
  [(35.77,23.905),(35.77,35.49),(36.105,35.49),(36.105,24.23),(40.89,24.23),(40.89,35.49),(35.77,35.49),(35.77,35.86),(41.265,35.86),(41.265,23.905)],
  [(29.84,42.485),(29.84,46.085),(25.72,46.085),(25.72,46.235),(30.13,46.235),(30.13,42.485)],
  [(24.635,32.85),(24.635,33.355),(25.78,33.355),(25.78,33.955),(25.94,33.955),(25.94,33.355),(26.08,33.355),(26.08,32.865),(25.92,32.865),(25.92,33.25),(24.795,33.25),(24.795,32.85)],
  [(23.955,24.205),(23.955,24.85),(24.115,24.85),(24.115,24.345),(28.6,24.345),(28.6,25.56),(30.885,25.56),(30.885,25.315),(28.76,25.315),(28.76,24.205)],
  [(6.405,-3.87),(6.405,2.29),(8.865,2.29),(8.865,-3.75),(46.395,-3.75),(46.395,-3.87)])
R(dynamic_comparator_new, Metal1_pin, [(36.89,23.12,37.33,23.3), (38.065,48.675,38.815,49.03)])
R(dynamic_comparator_new, Metal2, [(29.085,22.16,33.58,25.155), (24.52,24.555,25.515,24.79), (40.035,24.7,40.33,24.745), (36.435,24.745,41.565,26.57), (29.085,25.155,29.51,26.71), (29.085,26.71,33.58,29.67), (34.055,26.715,40.555,28.63), (34.055,28.63,34.175,31.04), (38.46,28.63,38.665,29.55), (38.98,28.63,39.27,28.72), (36.655,29.005,36.945,29.17), (37.85,29.005,38.14,29.17), (29.085,29.67,29.47,35.47), (39.64,30.495,41.565,30.78), (30.7,31.04,34.175,33.905), (26.485,32.91,27.71,33.155), (33.25,34.815,35.58,35.105), (29.085,35.47,33.61,37.29), (34.26,39.8,35.47,40.23), (42.45,39.855,44.18,40.285), (29.775,40.365,31.035,40.655), (29.775,40.655,30.2,42.55), (30.695,40.77,33.575,42.63)])
P(dynamic_comparator_new, Metal2, [(27.195,16.245),(27.195,26.825),(26.815,26.825),(26.815,31.435),(27.65,31.435),(27.65,16.245)],
  [(20.775,21.165),(20.775,31.445),(23.9,31.445),(23.9,26.835),(21.335,26.835),(21.335,21.165)],
  [(27.65,37.535),(27.65,45.03),(33.575,45.03),(33.575,43.155),(28.505,43.155),(28.505,39.45),(33.58,39.45),(33.58,37.535)],
  [(30.7,17.835),(30.7,20.66),(41.565,20.66),(41.565,30.78),(42.145,30.78),(42.145,17.835)],
  [(35.44,29.17),(35.44,34.815),(35.58,34.815),(35.58,29.315),(38.14,29.315),(38.14,29.17)],
  [(37.26,29.55),(37.26,30.48),(37.55,30.48),(37.55,29.725),(38.665,29.725),(38.665,29.55)],
  [(37.26,35.07),(37.26,37.615),(36.335,37.615),(36.335,37.85),(36.625,37.85),(36.625,37.78),(37.55,37.78),(37.55,35.07)],
  [(39.7,32.785),(39.7,34.66),(41.665,34.66),(41.665,38.285),(37.79,38.285),(37.79,42.095),(42.45,42.095),(42.45,32.785)],
  [(39.345,35.08),(39.345,37.595),(38.015,37.595),(38.015,37.855),(38.305,37.855),(38.305,37.775),(39.635,37.775),(39.635,35.08)],
  [(36.325,32.755),(36.325,36.09),(35.47,36.09),(35.47,42.19),(36.27,42.19),(36.27,38.255),(35.615,38.255),(35.615,36.345),(36.78,36.345),(36.78,34.665),(37.775,34.665),(37.775,32.755)])
R(dynamic_comparator_new, Metal2_pin, [(25.4,24.58,25.495,24.76), (27.525,32.925,27.7,33.15), (35.385,34.835,35.55,35.07), (34.375,39.81,34.59,40.18), (43.91,39.885,44.15,40.24), (29.8,40.395,29.965,40.63)])
P(dynamic_comparator_new, pSD, [(35.745,23.88),(35.745,35.465),(36.135,35.465),(36.135,24.255),(40.88,24.255),(40.88,35.465),(35.745,35.465),(35.745,35.885),(41.29,35.885),(41.29,23.88)])
P(dynamic_comparator_new, NWell, [(29.05,15.525),(29.05,23.515),(21.81,23.515),(21.81,47.75),(40.34,47.75),(40.34,36.575),(35.24,36.575),(35.24,15.525)])
R(dynamic_comparator_new, nBuLay, [(39.415,36.53,40.45,46.73), (21.7,46.73,40.45,47.855)])
P(dynamic_comparator_new, nBuLay, [(28.94,15.42),(28.94,23.405),(21.7,23.405),(21.7,46.73),(22.7,46.73),(22.7,24.42),(29.97,24.42),(29.97,16.44),(35.35,16.44),(35.35,15.42)],
  [(34.305,15.42),(34.305,37.555),(39.415,37.555),(39.415,36.535),(35.35,36.535),(35.35,15.42)])
R(dynamic_comparator_new, Substrate, [(35.7,23.83,41.1,24.05), (41.1,23.83,41.34,35.665), (35.7,24.05,35.895,35.935), (35.895,35.665,41.34,35.935)])
P(dynamic_comparator_new, Substrate, [(35.895,24.05),(35.895,35.47),(36.125,35.47),(36.125,24.26),(40.87,24.26),(40.87,35.47),(35.895,35.47),(35.895,35.665),(41.1,35.665),(41.1,24.05)])
dynamic_comparator_new.add(gdstk.Reference(pmos_5_5, (-2.3,9.355)))
dynamic_comparator_new.add(gdstk.Reference(via_stack_1_14, (-2.135,11.415)))
dynamic_comparator_new.add(gdstk.Reference(via_stack_1_14, (-1.655,11.415)))
dynamic_comparator_new.add(gdstk.Reference(via_stack_62, (-2.175,5.52)))
dynamic_comparator_new.add(gdstk.Reference(via_stack_62, (-1.695,5.52)))
dynamic_comparator_new.add(gdstk.Reference(nmos_1_4, (-2.34,4.355)))
dynamic_comparator_new.add(gdstk.Reference(via_stack_3_10, (-1.895,9.15)))
dynamic_comparator_new.add(gdstk.Reference(via_stack_3_10, (-1.93,4.145)))
dynamic_comparator_new.add(gdstk.Reference(nmos_2_8, (-15.045,-4.555)))
dynamic_comparator_new.add(gdstk.Reference(nmos_2_8, (-15.045,-5.795)))
dynamic_comparator_new.add(gdstk.Reference(via_stack_1_1_8, (1.415,-0.055)))
dynamic_comparator_new.add(gdstk.Reference(via_stack_2_2, (0.265,2.785)))
dynamic_comparator_new.add(gdstk.Reference(pmos_6_4, (0.1,0.1)))
dynamic_comparator_new.add(gdstk.Reference(via_stack_3_1_8, (-9.815,-3.745)))
dynamic_comparator_new.add(gdstk.Reference(via_stack_4_8, (-4.76,-5.435)))
dynamic_comparator_new.add(gdstk.Reference(pmos_16, (30.63,35.11)))
dynamic_comparator_new.add(gdstk.Reference(pmos_7_5, (30.625,40.66)))
dynamic_comparator_new.add(gdstk.Reference(via_stack_6_8, (30.785,41.73)))
dynamic_comparator_new.add(gdstk.Reference(via_stack_6_8, (32.135,41.725)))
dynamic_comparator_new.add(gdstk.Reference(via_stack_6_8, (33.495,41.72)))
dynamic_comparator_new.add(gdstk.Reference(via_stack_6_8, (31.46,44.1)))
dynamic_comparator_new.add(gdstk.Reference(via_stack_6_8, (32.815,44.1)))
dynamic_comparator_new.add(gdstk.Reference(via_stack_5_2, (32.145,34.96)))
dynamic_comparator_new.add(gdstk.Reference(via_stack_6_8, (30.79,38.465)))
dynamic_comparator_new.add(gdstk.Reference(via_stack_6_8, (32.135,38.465)))
dynamic_comparator_new.add(gdstk.Reference(via_stack_6_8, (33.48,38.48)))
dynamic_comparator_new.add(gdstk.Reference(via_stack_6_8, (31.46,36.37)))
dynamic_comparator_new.add(gdstk.Reference(via_stack_6_8, (32.82,36.38)))
dynamic_comparator_new.add(gdstk.Reference(via_stack_5_2, (32.14,40.51)))
dynamic_comparator_new.add(gdstk.Reference(nmos_12, (39.745,24.71)))
dynamic_comparator_new.add(gdstk.Reference(nmos_12, (38.685,24.71)))
dynamic_comparator_new.add(gdstk.Reference(nmos_12, (37.55,24.71)))
dynamic_comparator_new.add(gdstk.Reference(via_stack_6_8, (37.705,27.69)))
dynamic_comparator_new.add(gdstk.Reference(via_stack_6_8, (38.84,25.64)))
dynamic_comparator_new.add(gdstk.Reference(via_stack_6_8, (39.905,27.7)))
dynamic_comparator_new.add(gdstk.Reference(via_stack_10_8, (39.125,28.865), x_reflection=True))
dynamic_comparator_new.add(gdstk.Reference(via_stack_10_8, (39.49,34.935)))
dynamic_comparator_new.add(gdstk.Reference(via_stack_10_8, (37.405,34.925)))
dynamic_comparator_new.add(gdstk.Reference(nmos_12, (39.05,30.785)))
dynamic_comparator_new.add(gdstk.Reference(via_stack_10_8, (39.495,30.635)))
dynamic_comparator_new.add(gdstk.Reference(nmos_12, (36.965,30.775)))
dynamic_comparator_new.add(gdstk.Reference(via_stack_10_8, (37.405,30.625)))
dynamic_comparator_new.add(gdstk.Reference(via_stack_10_8, (38.16,38)))
dynamic_comparator_new.add(gdstk.Reference(pmos_1_8, (37.72,38.15)))
dynamic_comparator_new.add(gdstk.Reference(via_stack_10_8, (40.18,24.555), x_reflection=True))
dynamic_comparator_new.add(gdstk.Reference(via_stack_10_8, (36.48,37.995)))
dynamic_comparator_new.add(gdstk.Reference(via_stack_11_8, (36.205,40.22)))
dynamic_comparator_new.add(gdstk.Reference(pmos_1_8, (36.04,38.145)))
dynamic_comparator_new.add(gdstk.Reference(via_stack_10_8, (37.995,28.86)))
dynamic_comparator_new.add(gdstk.Reference(via_stack_10_8, (36.8,28.86)))
dynamic_comparator_new.add(gdstk.Reference(via_stack_6_8, (36.53,25.635)))
dynamic_comparator_new.add(gdstk.Reference(nmos_12, (36.365,24.71)))
dynamic_comparator_new.add(gdstk.Reference(via_stack_11_8, (37.87,40.16)))
dynamic_comparator_new.add(gdstk.Reference(via_stack_7_8, (32.825,19.255)))
dynamic_comparator_new.add(gdstk.Reference(via_stack_7_8, (31.46,19.25)))
dynamic_comparator_new.add(gdstk.Reference(via_stack_7_8, (33.49,23.765)))
dynamic_comparator_new.add(gdstk.Reference(via_stack_7_8, (32.14,23.76)))
dynamic_comparator_new.add(gdstk.Reference(via_stack_7_8, (30.785,23.76)))
dynamic_comparator_new.add(gdstk.Reference(pmos_4_8, (30.63,17.24)))
dynamic_comparator_new.add(gdstk.Reference(via_stack_7_8, (30.775,28.28)))
dynamic_comparator_new.add(gdstk.Reference(pmos_4_8, (30.63,26.16)))
dynamic_comparator_new.add(gdstk.Reference(via_stack_7_8, (32.835,32.49)))
dynamic_comparator_new.add(gdstk.Reference(via_stack_7_8, (31.47,32.48)))
dynamic_comparator_new.add(gdstk.Reference(via_stack_7_8, (33.51,28.28)))
dynamic_comparator_new.add(gdstk.Reference(via_stack_7_8, (32.145,28.28)))
dynamic_comparator_new.add(gdstk.Reference(via_stack_6_8, (39.795,33.72)))
dynamic_comparator_new.add(gdstk.Reference(via_stack_6_8, (37.685,33.715)))
dynamic_comparator_new.add(gdstk.Reference(pmos_9_2, (24.53,33.955)))
dynamic_comparator_new.add(gdstk.Reference(pmos_11_2, (25.85,24.865)))
dynamic_comparator_new.add(gdstk.Reference(pmos_11_2, (23.885,24.85)))
dynamic_comparator_new.add(gdstk.Reference(via_stack_6_8, (29.985,41.62)))
dynamic_comparator_new.add(gdstk.Reference(via_stack_8_8, (24.045,29.14)))
dynamic_comparator_new.add(gdstk.Reference(via_stack_8_8, (26.67,29.13)))
dynamic_comparator_new.add(gdstk.Reference(via_stack_8_8, (27.435,18.83)))
dynamic_comparator_new.add(gdstk.Reference(via_stack_6_8, (21.045,22.07)))
dynamic_comparator_new.add(gdstk.Reference(rppd_2, (27.72,15.08), rotation=3*pi/2))
dynamic_comparator_new.add(gdstk.Reference(rppd_2, (6.385,2.72)))
dynamic_comparator_new.add(gdstk.Reference(via_stack_10_8, (24.375,24.7)))
dynamic_comparator_new.add(gdstk.Reference(via_stack_10_8, (26.34,33.01)))
dynamic_comparator_new.add(gdstk.Label('pmos', (31.735,22.65), layer=51, texttype=0))
dynamic_comparator_new.add(gdstk.Label('pmos', (31.715,31.375), layer=51, texttype=0))
dynamic_comparator_new.add(gdstk.Label('pmos', (37.165,43.285), layer=51, texttype=0))
dynamic_comparator_new.add(gdstk.Label('gnd', (37.035,23.17), layer=8, texttype=25))
dynamic_comparator_new.add(gdstk.Label('vdd', (38.38,48.875), layer=8, texttype=25))
dynamic_comparator_new.add(gdstk.Label('Vplus', (25.435,24.66), layer=10, texttype=25))
dynamic_comparator_new.add(gdstk.Label('vbias', (29.915,40.505), layer=10, texttype=25))
dynamic_comparator_new.add(gdstk.Label('clk', (35.45,34.925), layer=10, texttype=25))
dynamic_comparator_new.add(gdstk.Label('out_plus', (34.505,39.965), layer=10, texttype=25))
dynamic_comparator_new.add(gdstk.Label('out_minus', (44,40.085), layer=10, texttype=25))
dynamic_comparator_new.add(gdstk.Label('Vminus', (27.595,33.015), layer=10, texttype=25))

lib.write_gds('dynamic_comparator_new.gds')
